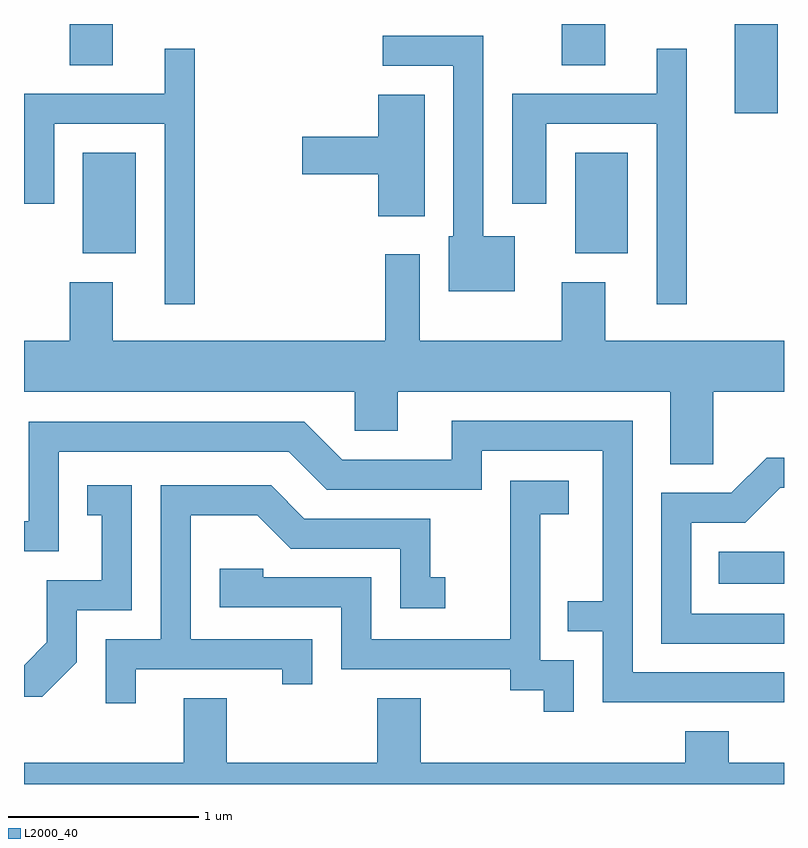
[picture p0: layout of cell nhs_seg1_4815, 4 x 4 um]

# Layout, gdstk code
import gdstk
lib = gdstk.Library(unit=1e-6, precision=1e-09)
def R(c, l, rs):  # rectangles x0, y0, x1, y1
    for r in rs: c.add(gdstk.rectangle(r[:2], r[2:], *l))
def P(c, l, *ps):  # polygons
    for p in ps: c.add(gdstk.Polygon(p, *l))
L2000_40 = (2000, 40)

nhs_seg1_4815 = lib.new_cell('nhs_seg1_4815')
R(nhs_seg1_4815, L2000_40, [(333.268,920.766,333.611,920.934), (329.921,922.506,330.199,923.034), (332.511,922.506,332.789,923.034), (333.351,923.241,333.579,923.712), (329.851,923.496,330.079,923.712), (332.441,923.496,332.669,923.712)])
P(nhs_seg1_4815, L2000_40, [(332.194,922.594),(332.029,922.594),(332.029,923.649),(331.498,923.649),(331.498,923.491),(331.871,923.491),(331.871,922.594),(331.846,922.594),(331.846,922.306),(332.194,922.306)],
  [(330.509,923.583),(330.351,923.583),(330.351,923.344),(329.611,923.344),(329.611,922.766),(329.769,922.766),(329.769,923.186),(330.351,923.186),(330.351,922.238),(330.509,922.238)],
  [(333.099,923.583),(332.941,923.583),(332.941,923.344),(332.181,923.344),(332.181,922.766),(332.359,922.766),(332.359,923.186),(332.941,923.186),(332.941,922.238),(333.099,922.238)],
  [(331.719,923.339),(331.476,923.339),(331.476,923.119),(331.076,923.119),(331.076,922.921),(331.476,922.921),(331.476,922.701),(331.719,922.701)],
  [(333.239,921.776),(333.611,921.776),(333.611,922.044),(332.669,922.044),(332.669,922.354),(332.441,922.354),(332.441,922.044),(331.694,922.044),(331.694,922.499),(331.511,922.499),(331.511,922.044),(330.079,922.044),(330.079,922.354),(329.851,922.354),(329.851,922.044),(329.611,922.044),(329.611,921.776),(331.351,921.776),(331.351,921.571),(331.579,921.571),(331.579,921.776),(333.011,921.776),(333.011,921.396),(333.239,921.396)],
  [(333.611,920.299),(332.814,920.299),(332.814,921.624),(331.861,921.624),(331.861,921.419),(331.287,921.419),(331.087,921.619),(329.636,921.619),(329.636,921.094),(329.611,921.094),(329.611,920.936),(329.794,920.936),(329.794,921.461),(331.004,921.461),(331.204,921.261),(332.019,921.261),(332.019,921.466),(332.656,921.466),(332.656,920.674),(332.473,920.674),(332.473,920.516),(332.656,920.516),(332.656,920.141),(333.611,920.141)],
  [(333.611,920.609),(333.124,920.609),(333.124,921.086),(333.407,921.086),(333.592,921.271),(333.611,921.271),(333.611,921.429),(333.519,921.429),(333.334,921.244),(332.966,921.244),(332.966,920.451),(333.611,920.451)],
  [(332.504,920.364),(332.329,920.364),(332.329,921.131),(332.479,921.131),(332.479,921.309),(332.171,921.309),(332.171,920.474),(331.439,920.474),(331.439,920.799),(330.869,920.799),(330.869,920.844),(330.641,920.844),(330.641,920.641),(331.281,920.641),(331.281,920.316),(332.171,920.316),(332.171,920.206),(332.346,920.206),(332.346,920.093),(332.504,920.093)],
  [(329.889,920.354),(329.889,920.626),(330.179,920.626),(330.179,921.284),(329.943,921.284),(329.943,921.126),(330.021,921.126),(330.021,920.784),(329.731,920.784),(329.731,920.457),(329.611,920.336),(329.611,920.171),(329.707,920.171)],
  [(330.199,920.316),(330.971,920.316),(330.971,920.238),(331.129,920.238),(331.129,920.474),(330.489,920.474),(330.489,921.126),(330.839,921.126),(331.014,920.951),(331.591,920.951),(331.591,920.636),(331.828,920.636),(331.828,920.799),(331.749,920.799),(331.749,921.109),(331.087,921.109),(330.912,921.284),(330.331,921.284),(330.331,920.474),(330.041,920.474),(330.041,920.138),(330.199,920.138)],
  [(330.679,920.164),(330.451,920.164),(330.451,919.824),(329.611,919.824),(329.611,919.712),(333.611,919.712),(333.611,919.824),(333.319,919.824),(333.319,919.989),(333.091,919.989),(333.091,919.824),(331.699,919.824),(331.699,920.164),(331.471,920.164),(331.471,919.824),(330.679,919.824)])

lib.write_gds('nhs_seg1_4815.gds')
